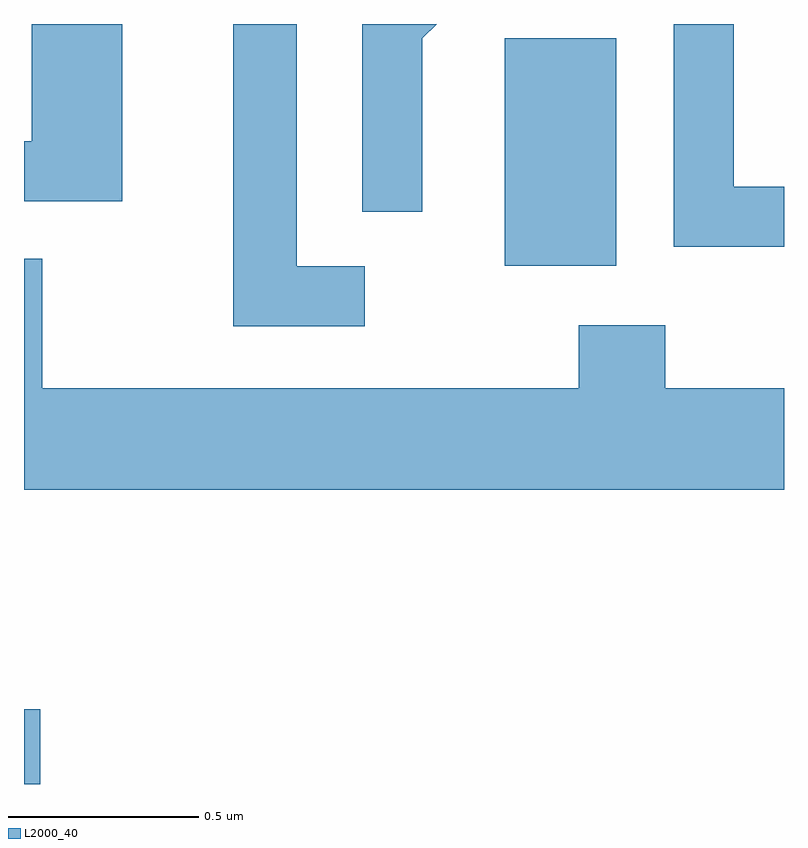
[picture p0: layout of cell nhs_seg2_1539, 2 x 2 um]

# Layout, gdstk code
import gdstk
lib = gdstk.Library(unit=1e-6, precision=1e-09)
def R(c, l, rs):  # rectangles x0, y0, x1, y1
    for r in rs: c.add(gdstk.rectangle(r[:2], r[2:], *l))
def P(c, l, *ps):  # polygons
    for p in ps: c.add(gdstk.Polygon(p, *l))
L2000_40 = (2000, 40)

nhs_seg2_1539 = lib.new_cell('nhs_seg2_1539')
R(nhs_seg2_1539, L2000_40, [(196.611,1009.802,196.654,1009.999), (197.876,1011.166,198.169,1011.764)])
P(nhs_seg2_1539, L2000_40, [(197.659,1011.764),(197.697,1011.802),(197.501,1011.802),(197.501,1011.308),(197.659,1011.308)],
  [(198.611,1011.374),(198.479,1011.374),(198.479,1011.802),(198.321,1011.802),(198.321,1011.216),(198.611,1011.216)],
  [(196.869,1011.802),(196.631,1011.802),(196.631,1011.494),(196.611,1011.494),(196.611,1011.336),(196.869,1011.336)],
  [(197.508,1011.164),(197.329,1011.164),(197.329,1011.802),(197.161,1011.802),(197.161,1011.006),(197.508,1011.006)],
  [(198.611,1010.844),(198.299,1010.844),(198.299,1011.009),(198.071,1011.009),(198.071,1010.844),(196.659,1010.844),(196.659,1011.184),(196.611,1011.184),(196.611,1010.576),(198.611,1010.576)])

lib.write_gds('nhs_seg2_1539.gds')
